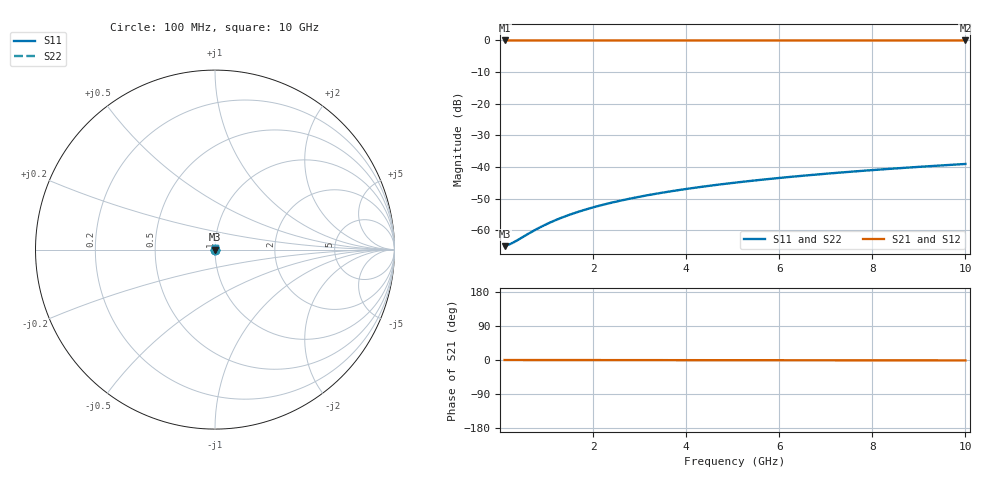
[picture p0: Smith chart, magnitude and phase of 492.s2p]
# Hz S RI R 50.00
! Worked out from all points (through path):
!   100 points, 100 MHz to 10 GHz, reference 50 ohm
!   highest |S21| = 0.00 dB at 100 MHz (marker M1); lowest = 0.0 dB at 10 GHz (marker M2)
!   lowest |S11| = -65.0 dB at 100 MHz (marker M3), VSWR 1.00, Z = 50.1 + j0.0112 ohm
!   |S11| at or under -10 dB: start of sweep to end of sweep
!   |S22| runs from -65.0 to -39.0 dB; largest |S21 - S12| = 0
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1e8  0.000552 0.000112  0.9994 -0.000186  0.9994 -0.000186  0.000552 0.000112
2e8  0.000556 0.000223  0.9994 -0.000372  0.9994 -0.000372  0.000556 0.000223
3e8  0.000558 0.000335  0.9994 -0.000558  0.9994 -0.000558  0.000558 0.000335
6e8  0.000565 0.000669  0.9994 -0.00112  0.9994 -0.00112  0.000565 0.000669
8e8  0.000568 0.000892  0.9994 -0.00149  0.9994 -0.00149  0.000568 0.000892
9e8  0.00057 0.001  0.9994 -0.00167  0.9994 -0.00167  0.00057 0.001
1.1e9  0.000573 0.00123  0.9994 -0.00205  0.9994 -0.00205  0.000573 0.00123
1.4e9  0.000577 0.00156  0.9994 -0.0026  0.9994 -0.0026  0.000577 0.00156
1.6e9  0.00058 0.00178  0.9994 -0.00297  0.9994 -0.00297  0.00058 0.00178
1.8e9  0.000583 0.00201  0.9994 -0.00335  0.9994 -0.00335  0.000583 0.00201
2.1e9  0.000588 0.00234  0.9994 -0.0039  0.9994 -0.0039  0.000588 0.00234
2.5e9  0.000594 0.00279  0.9994 -0.00465  0.9994 -0.00465  0.000594 0.00279
2.9e9  0.000601 0.00323  0.9994 -0.00539  0.9994 -0.00539  0.000601 0.00323
3.4e9  0.00061 0.00379  0.9994 -0.00632  0.9994 -0.00632  0.00061 0.00379
3.8e9  0.000618 0.00424  0.9994 -0.00707  0.9994 -0.00707  0.000618 0.00424
4.2e9  0.000627 0.00468  0.9994 -0.00781  0.9994 -0.00781  0.000627 0.00468
5.1e9  0.000649 0.00569  0.9993 -0.00949  0.9993 -0.00949  0.000649 0.00569
5.9e9  0.000671 0.00658  0.9993 -0.011  0.9993 -0.011  0.000671 0.00658
6.7e9  0.000695 0.00747  0.9993 -0.0125  0.9993 -0.0125  0.000695 0.00747
7.5e9  0.000722 0.00837  0.9993 -0.014  0.9993 -0.014  0.000722 0.00837
8.4e9  0.000756 0.00937  0.9992 -0.0156  0.9992 -0.0156  0.000756 0.00937
1e10  0.000824 0.0112  0.9991 -0.0186  0.9991 -0.0186  0.000824 0.0112
